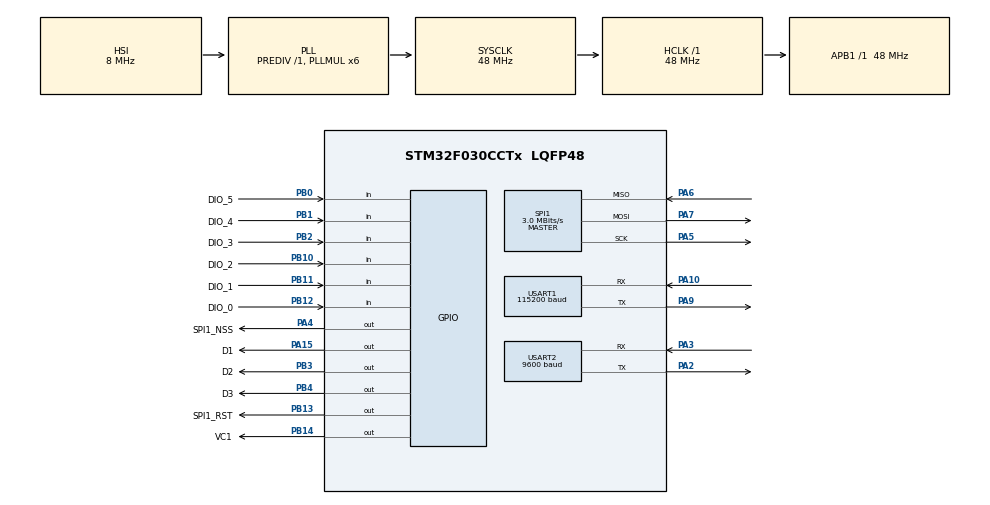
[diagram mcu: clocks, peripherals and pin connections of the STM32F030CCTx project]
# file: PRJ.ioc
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FREERTOS.HEAP_NUMBER=4
FREERTOS.INCLUDE_eTaskGetState=0
FREERTOS.INCLUDE_pcTaskGetTaskName=0
FREERTOS.INCLUDE_uxTaskGetStackHighWaterMark=0
FREERTOS.INCLUDE_uxTaskPriorityGet=1
FREERTOS.INCLUDE_vTaskCleanUpResources=0
FREERTOS.INCLUDE_vTaskDelay=1
FREERTOS.INCLUDE_vTaskDelayUntil=0
FREERTOS.INCLUDE_vTaskDelete=1
FREERTOS.INCLUDE_vTaskPrioritySet=1
FREERTOS.INCLUDE_vTaskSuspend=1
FREERTOS.INCLUDE_xEventGroupSetBitFromISR=0
FREERTOS.INCLUDE_xQueueGetMutexHolder=0
FREERTOS.INCLUDE_xSemaphoreGetMutexHolder=0
FREERTOS.INCLUDE_xTaskAbortDelay=0
FREERTOS.INCLUDE_xTaskGetCurrentTaskHandle=0
FREERTOS.INCLUDE_xTaskGetHandle=0
FREERTOS.INCLUDE_xTaskResumeFromISR=1
FREERTOS.MEMORY_ALLOCATION=2
FREERTOS.Queues01=Usart2Queue,256,uint8_t,0,Dynamic,NULL,NULL;LoRaQueue,10,tsBuf,0,Dynamic,NULL,NULL;Usart1Queue,16,uint8_t,0,Dynamic,NULL,NULL
FREERTOS.Tasks01=UIDTask,0,128,UID_Task,Default,NULL,Dynamic,NULL,NULL;Usart2Task,0,512,Usart2_Task,Default,NULL,Dynamic,NULL,NULL;LoRaProcess,0,128,LoRa_Process,Default,NULL,Dynamic,NULL,NULL;LoRaTask,0,128,LoRa_Task,Default,NULL,Dynamic,NULL,NULL;Usart1Task,0,128,Usart1_Task,Default,NULL,Dynamic,NULL,NULL
FREERTOS.configCHECK_FOR_STACK_OVERFLOW=0
FREERTOS.configENABLE_BACKWARD_COMPATIBILITY=1
FREERTOS.configGENERATE_RUN_TIME_STATS=0
FREERTOS.configIDLE_SHOULD_YIELD=1
FREERTOS.configLIBRARY_LOWEST_INTERRUPT_PRIORITY=3
FREERTOS.configLIBRARY_MAX_SYSCALL_INTERRUPT_PRIORITY=3
FREERTOS.configMAX_CO_ROUTINE_PRIORITIES=2
FREERTOS.configMAX_PRIORITIES=7
FREERTOS.configMAX_TASK_NAME_LEN=16
FREERTOS.configMINIMAL_STACK_SIZE=128
FREERTOS.configQUEUE_REGISTRY_SIZE=8
FREERTOS.configRECORD_STACK_HIGH_ADDRESS=0
FREERTOS.configTICK_RATE_HZ=1000
FREERTOS.configTOTAL_HEAP_SIZE=10240
FREERTOS.configUSE_APPLICATION_TASK_TAG=0
FREERTOS.configUSE_COUNTING_SEMAPHORES=0
FREERTOS.configUSE_CO_ROUTINES=0
FREERTOS.configUSE_DAEMON_TASK_STARTUP_HOOK=0
FREERTOS.configUSE_IDLE_HOOK=0
FREERTOS.configUSE_MALLOC_FAILED_HOOK=0
FREERTOS.configUSE_MUTEXES=1
FREERTOS.configUSE_NEWLIB_REENTRANT=0
FREERTOS.configUSE_PREEMPTION=1
FREERTOS.configUSE_RECURSIVE_MUTEXES=0
FREERTOS.configUSE_STATS_FORMATTING_FUNCTIONS=0
FREERTOS.configUSE_TASK_NOTIFICATIONS=1
FREERTOS.configUSE_TICKLESS_IDLE=0
FREERTOS.configUSE_TICK_HOOK=0
FREERTOS.configUSE_TIMERS=0
FREERTOS.configUSE_TRACE_FACILITY=0
FREERTOS.copyHeapFile=1
Mcu.Family=STM32F0
Mcu.Name=STM32F030CCTx
Mcu.Package=LQFP48
NVIC.TIM6_IRQn=true\:0\:0\:false\:false\:true\:false\:false\:true
NVIC.TimeBase=TIM6_IRQn
NVIC.TimeBaseIP=TIM6
NVIC.USART1_IRQn=true\:3\:0\:true\:false\:true\:true\:true\:true
NVIC.USART2_IRQn=true\:3\:0\:false\:false\:true\:true\:true\:true
PA10.Mode=Asynchronous
PA10.Signal=USART1_RX
PA13.Mode=Serial_Wire
PA13.Signal=SYS_SWDIO
PA14.Mode=Serial_Wire
PA14.Signal=SYS_SWCLK
PA15.GPIO_Label=D1
PA15.GPIO_PuPd=GPIO_PULLUP
PA15.PinState=GPIO_PIN_RESET
PA15.Signal=GPIO_Output
PA2.Mode=Asynchronous
PA2.Signal=USART2_TX
PA3.Mode=Asynchronous
PA3.Signal=USART2_RX
PA4.GPIO_Label=SPI1_NSS
PA4.GPIO_PuPd=GPIO_PULLUP
PA4.GPIO_Speed=GPIO_SPEED_FREQ_HIGH
PA4.Signal=GPIO_Output
PA5.Mode=Full_Duplex_Master
PA5.Signal=SPI1_SCK
PA6.Mode=Full_Duplex_Master
PA6.Signal=SPI1_MISO
PA7.Mode=Full_Duplex_Master
PA7.Signal=SPI1_MOSI
PA9.Mode=Asynchronous
PA9.Signal=USART1_TX
PB0.GPIO_Label=DIO_5
PB0.Signal=GPIO_Input
PB1.GPIO_Label=DIO_4
PB1.Signal=GPIO_Input
PB10.GPIO_Label=DIO_2
PB10.Signal=GPIO_Input
PB11.GPIO_Label=DIO_1
PB11.Signal=GPIO_Input
PB12.GPIO_Label=DIO_0
PB12.Signal=GPIO_Input
PB13.GPIO_Label=SPI1_RST
PB13.GPIO_PuPd=GPIO_PULLUP
PB13.PinState=GPIO_PIN_SET
PB13.Signal=GPIO_Output
PB14.GPIO_Label=VC1
PB14.Signal=GPIO_Output
PB2.GPIO_Label=DIO_3
PB2.Signal=GPIO_Input
PB3.GPIO_Label=D2
PB3.GPIO_PuPd=GPIO_PULLUP
PB3.PinState=GPIO_PIN_SET
PB3.Signal=GPIO_Output
PB4.GPIO_Label=D3
PB4.GPIO_PuPd=GPIO_PULLDOWN
PB4.Signal=GPIO_Output
PF0-OSC_IN.Mode=HSE-External-Oscillator
PF0-OSC_IN.Signal=RCC_OSC_IN
PF1-OSC_OUT.Mode=HSE-External-Oscillator
PF1-OSC_OUT.Signal=RCC_OSC_OUT
ProjectManager.HeapSize=0x200
ProjectManager.StackSize=0x400
ProjectManager.TargetToolchain=MDK-ARM V5.27
RCC.AHBFreq_Value=48000000
RCC.APB1Freq_Value=48000000
RCC.APB1TimFreq_Value=48000000
RCC.FLatency=FLASH_LATENCY_1
RCC.HCLKFreq_Value=48000000
RCC.PLLMUL=RCC_PLL_MUL6
RCC.SYSCLKFreq_VALUE=48000000
RCC.SYSCLKSource=RCC_SYSCLKSOURCE_PLLCLK
SPI1.BaudRatePrescaler=SPI_BAUDRATEPRESCALER_16
SPI1.CLKPhase=SPI_PHASE_1EDGE
SPI1.CLKPolarity=SPI_POLARITY_LOW
SPI1.CRCCalculation=SPI_CRCCALCULATION_DISABLE
SPI1.CalculateBaudRate=3.0 MBits/s
SPI1.DataSize=SPI_DATASIZE_8BIT
SPI1.Direction=SPI_DIRECTION_2LINES
SPI1.FirstBit=SPI_FIRSTBIT_MSB
SPI1.Mode=SPI_MODE_MASTER
SPI1.NSS=SPI_NSS_SOFT
SPI1.NSSPMode=SPI_NSS_PULSE_ENABLE
SPI1.TIMode=SPI_TIMODE_DISABLE
SPI1.VirtualType=VM_MASTER
USART1.AutoBaudRateEnableParam=UART_ADVFEATURE_AUTOBAUDRATE_DISABLE
USART1.BaudRate=115200
USART1.DMADisableonRxErrorParam=ADVFEATURE_DMA_ENABLEONRXERROR
USART1.DataInvertParam=ADVFEATURE_DATAINV_DISABLE
USART1.MSBFirstParam=ADVFEATURE_MSBFIRST_DISABLE
USART1.Mode=MODE_TX_RX
USART1.OneBitSampling=UART_ONE_BIT_SAMPLE_DISABLE
USART1.OverSampling=UART_OVERSAMPLING_16
USART1.OverrunDisableParam=ADVFEATURE_OVERRUN_ENABLE
USART1.Parity=PARITY_NONE
USART1.RxPinLevelInvertParam=ADVFEATURE_RXINV_DISABLE
USART1.StopBits=STOPBITS_1
USART1.SwapParam=ADVFEATURE_SWAP_DISABLE
USART1.TxPinLevelInvertParam=ADVFEATURE_TXINV_DISABLE
USART1.VirtualMode-Asynchronous=VM_ASYNC
USART1.WordLength=WORDLENGTH_8B
USART2.AutoBaudRateEnableParam=UART_ADVFEATURE_AUTOBAUDRATE_DISABLE
USART2.BaudRate=9600
USART2.DMADisableonRxErrorParam=ADVFEATURE_DMA_ENABLEONRXERROR
USART2.DataInvertParam=ADVFEATURE_DATAINV_DISABLE
USART2.MSBFirstParam=ADVFEATURE_MSBFIRST_DISABLE
USART2.Mode=MODE_TX_RX
USART2.OneBitSampling=UART_ONE_BIT_SAMPLE_DISABLE
USART2.OverSampling=UART_OVERSAMPLING_16
USART2.OverrunDisableParam=ADVFEATURE_OVERRUN_ENABLE
USART2.Parity=PARITY_NONE
USART2.RxPinLevelInvertParam=ADVFEATURE_RXINV_DISABLE
USART2.StopBits=STOPBITS_1
USART2.SwapParam=ADVFEATURE_SWAP_DISABLE
USART2.TxPinLevelInvertParam=ADVFEATURE_TXINV_DISABLE
USART2.VirtualMode-Asynchronous=VM_ASYNC
USART2.WordLength=WORDLENGTH_8B
VP_FREERTOS_VS_CMSIS_V1.Mode=CMSIS_V1
VP_SYS_VS_tim6.Mode=TIM6
board=custom

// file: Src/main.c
/* USER CODE BEGIN Header */
/**
  ******************************************************************************
  * @file           : main.c
  * @brief          : Main program body
  ******************************************************************************
  * @attention
  *
  * <h2><center>&copy; Copyright (c) 2020 STMicroelectronics.
  * All rights reserved.</center></h2>
  *
  * This software component is licensed by ST under Ultimate Liberty license
  * SLA0044, the "License"; You may not use this file except in compliance with
  * the License. You may obtain a copy of the License at:
  *                             www.st.com/SLA0044
  *
  ******************************************************************************
  */
/* USER CODE END Header */

#include "main.h"
#include "cmsis_os.h"
#include "spi.h"
#include "usart.h"
#include "gpio.h"

/* USER CODE BEGIN Includes */
#include "RfConfig.h"
#include "stmflash.h"
/* USER CODE END Includes */

void SystemClock_Config(void);
void MX_FREERTOS_Init(void);

int main(void)
{

  /* MCU Configuration--------------------------------------------------------*/

  /* Reset of all peripherals, Initializes the Flash interface and the Systick. */
  HAL_Init();

  /* Configure the system clock */
  SystemClock_Config();

  /* Initialize all configured peripherals */
  MX_GPIO_Init();
  MX_USART1_UART_Init();
  MX_USART2_UART_Init();
  MX_SPI1_Init();
  /* USER CODE BEGIN 2 */
	//USART_DMA_START(&huart2);
	user_info("LoRa Host Version @ V1.0");

  /* USER CODE END 2 */

  /* Call init function for freertos objects (in freertos.c) */
  MX_FREERTOS_Init();
  /* Start scheduler */
  osKernelStart();

  /* We should never get here as control is now taken by the scheduler */
  /* Infinite loop */
  while (1)
  {

  }
}

void SystemClock_Config(void)
{
  RCC_OscInitTypeDef RCC_OscInitStruct = {0};
  RCC_ClkInitTypeDef RCC_ClkInitStruct = {0};
  RCC_PeriphCLKInitTypeDef PeriphClkInit = {0};

  /** Initializes the CPU, AHB and APB busses clocks
  */
  RCC_OscInitStruct.OscillatorType = RCC_OSCILLATORTYPE_HSI;
  RCC_OscInitStruct.HSIState = RCC_HSI_ON;
  RCC_OscInitStruct.HSICalibrationValue = RCC_HSICALIBRATION_DEFAULT;
  RCC_OscInitStruct.PLL.PLLState = RCC_PLL_ON;
  RCC_OscInitStruct.PLL.PLLSource = RCC_PLLSOURCE_HSI;
  RCC_OscInitStruct.PLL.PLLMUL = RCC_PLL_MUL6;
  RCC_OscInitStruct.PLL.PREDIV = RCC_PREDIV_DIV1;
  if (HAL_RCC_OscConfig(&RCC_OscInitStruct) != HAL_OK)
  {
    Error_Handler();
  }
  /** Initializes the CPU, AHB and APB busses clocks
  */
  RCC_ClkInitStruct.ClockType = RCC_CLOCKTYPE_HCLK|RCC_CLOCKTYPE_SYSCLK
                              |RCC_CLOCKTYPE_PCLK1;
  RCC_ClkInitStruct.SYSCLKSource = RCC_SYSCLKSOURCE_PLLCLK;
  RCC_ClkInitStruct.AHBCLKDivider = RCC_SYSCLK_DIV1;
  RCC_ClkInitStruct.APB1CLKDivider = RCC_HCLK_DIV1;

  if (HAL_RCC_ClockConfig(&RCC_ClkInitStruct, FLASH_LATENCY_1) != HAL_OK)
  {
    Error_Handler();
  }
  PeriphClkInit.PeriphClockSelection = RCC_PERIPHCLK_USART1;
  PeriphClkInit.Usart1ClockSelection = RCC_USART1CLKSOURCE_PCLK1;
  if (HAL_RCCEx_PeriphCLKConfig(&PeriphClkInit) != HAL_OK)
  {
    Error_Handler();
  }
}

 /**
  * @brief  Period elapsed callback in non blocking mode
  * @note   This function is called  when TIM6 interrupt took place, inside
  * HAL_TIM_IRQHandler(). It makes a direct call to HAL_IncTick() to increment
  * a global variable "uwTick" used as application time base.
  * @param  htim : TIM handle
  * @retval None
  */
void HAL_TIM_PeriodElapsedCallback(TIM_HandleTypeDef *htim)
{
  if (htim->Instance == TIM6) {
    HAL_IncTick();
  }
}

void Error_Handler(void)
{
}

/************************ (C) COPYRIGHT STMicroelectronics *****END OF FILE****/

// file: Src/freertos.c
/* USER CODE BEGIN Header */
/**
  ******************************************************************************
  * File Name          : freertos.c
  * Description        : Code for freertos applications
  ******************************************************************************
  * @attention
  *
  * <h2><center>&copy; Copyright (c) 2020 STMicroelectronics.
  * All rights reserved.</center></h2>
  *
  * This software component is licensed by ST under Ultimate Liberty license
  * SLA0044, the "License"; You may not use this file except in compliance with
  * the License. You may obtain a copy of the License at:
  *                             www.st.com/SLA0044
  *
  ******************************************************************************
  */
/* USER CODE END Header */

#include "FreeRTOS.h"
#include "task.h"
#include "main.h"
#include "cmsis_os.h"

/* USER CODE BEGIN Includes */
#include "user_dataType.h"
#include "usart.h"
#include "RfConfig.h"
#include "combus.h"
#include "modbus_slave.h"
/* USER CODE END Includes */

osThreadId UIDTaskHandle;
osThreadId Usart2TaskHandle;
osThreadId LoRaProcessHandle;
osThreadId LoRaTaskHandle;
osThreadId Usart1TaskHandle;
osMessageQId Usart2QueueHandle;
osMessageQId LoRaQueueHandle;
osMessageQId Usart1QueueHandle;

void UID_Task(void const * argument);
void Usart2_Task(void const * argument);
void LoRa_Process(void const * argument);
void LoRa_Task(void const * argument);
void Usart1_Task(void const * argument);

void MX_FREERTOS_Init(void); /* (MISRA C 2004 rule 8.1) */

/* GetIdleTaskMemory prototype (linked to static allocation support) */
void vApplicationGetIdleTaskMemory( StaticTask_t **ppxIdleTaskTCBBuffer, StackType_t **ppxIdleTaskStackBuffer, uint32_t *pulIdleTaskStackSize );

/* USER CODE BEGIN GET_IDLE_TASK_MEMORY */
static StaticTask_t xIdleTaskTCBBuffer;
static StackType_t xIdleStack[configMINIMAL_STACK_SIZE];

void vApplicationGetIdleTaskMemory( StaticTask_t **ppxIdleTaskTCBBuffer, StackType_t **ppxIdleTaskStackBuffer, uint32_t *pulIdleTaskStackSize )
{
  *ppxIdleTaskTCBBuffer = &xIdleTaskTCBBuffer;
  *ppxIdleTaskStackBuffer = &xIdleStack[0];
  *pulIdleTaskStackSize = configMINIMAL_STACK_SIZE;
  /* place for user code */
}
/* USER CODE END GET_IDLE_TASK_MEMORY */

void MX_FREERTOS_Init(void) {

  /* Create the queue(s) */
  /* definition and creation of Usart2Queue */
  osMessageQDef(Usart2Queue, 256, uint8_t);
  Usart2QueueHandle = osMessageCreate(osMessageQ(Usart2Queue), NULL);

  /* definition and creation of LoRaQueue */
  osMessageQDef(LoRaQueue, 10, tsBuf);
  LoRaQueueHandle = osMessageCreate(osMessageQ(LoRaQueue), NULL);

  /* definition and creation of Usart1Queue */
  osMessageQDef(Usart1Queue, 16, uint8_t);
  Usart1QueueHandle = osMessageCreate(osMessageQ(Usart1Queue), NULL);

  /* Create the thread(s) */
  /* definition and creation of UIDTask */
  osThreadDef(UIDTask, UID_Task, osPriorityNormal, 0, 128);
  UIDTaskHandle = osThreadCreate(osThread(UIDTask), NULL);

  /* definition and creation of Usart2Task */
  osThreadDef(Usart2Task, Usart2_Task, osPriorityNormal, 0, 512);
  Usart2TaskHandle = osThreadCreate(osThread(Usart2Task), NULL);

  /* definition and creation of LoRaProcess */
  osThreadDef(LoRaProcess, LoRa_Process, osPriorityNormal, 0, 128);
  LoRaProcessHandle = osThreadCreate(osThread(LoRaProcess), NULL);

  /* definition and creation of LoRaTask */
  osThreadDef(LoRaTask, LoRa_Task, osPriorityNormal, 0, 128);
  LoRaTaskHandle = osThreadCreate(osThread(LoRaTask), NULL);

  /* definition and creation of Usart1Task */
  osThreadDef(Usart1Task, Usart1_Task, osPriorityNormal, 0, 128);
  Usart1TaskHandle = osThreadCreate(osThread(Usart1Task), NULL);

}

void UID_Task(void const * argument)
{
  /* USER CODE BEGIN UID_Task */
  /* Infinite loop */
  for(;;)
  {
//	HAL_GPIO_TogglePin(D1_GPIO_Port,D1_Pin);
    osDelay(100);
  }
  /* USER CODE END UID_Task */
}

void Usart2_Task(void const * argument)
{
  /* USER CODE BEGIN Usart2_Task */
	uint8_t aRxBuffer[USART2_RX_BUFFERSIZE]={0};
	uint8_t u8Index=0;
	tsBuf data;
	uint16_t crc_check=0;
	uint8_t Ex_code=0;
	__IO uint16_t Rx_MSG=MSG_IDLE;
  /* Infinite loop */
  for(;;)
  {
	u8Index=0;
	if(xQueueReceive(Usart2QueueHandle,&aRxBuffer[u8Index++],portMAX_DELAY)== pdTRUE)
	{
		while(xQueueReceive(Usart2QueueHandle,&aRxBuffer[u8Index++],5)){}
		//接收到一帧数据
		HAL_GPIO_WritePin(D2_GPIO_Port,D2_Pin,GPIO_PIN_RESET);//开485灯
		aRxBuffer[u8Index]='\0';
		u8Index=u8Index-1;
		//user_info("count = %d | data = %s",u8Index,aRxBuffer);
#if MODBUS_MODE
		/*复制数据*/
		memcpy((uint8_t *)Rx_Buf,aRxBuffer,u8Index);
		RxCount=u8Index;
		for(int i=0;i<RxCount;i++)
		{
			printf("%02X ",Rx_Buf[i]);
		}
		printf("\r\n");
		/*为寄存器分配内存*/
		PduData.PtrHoldingbase=Reg_Val;
		/*初始化modbus*/
		Rx_MSG=MSG_COM;
		if(Rx_MSG == MSG_COM)
		{
			//收到非本机地址的响应请求
			if((Rx_Buf[0]!=MB_SLAVEADDR)&&(Rx_Buf[0]!=MB_ALLSLAVEADDR))
			{
				Rx_MSG = MSG_IDLE;
				HAL_GPIO_WritePin(D2_GPIO_Port,D2_Pin,GPIO_PIN_SET);//关485灯
				memset((uint8_t *)Rx_Buf,0,RxCount);//清除缓冲区
				printf("NetAddr is Not!");
				continue;
			}
			//解析数据帧
			MB_Parse_Data();
			//CRC校验
			crc_check=((Rx_Buf[RxCount-1]<<8) | Rx_Buf[RxCount-2]);
			if(crc_check==PduData._CRC)
			{
				//分析数据并执行
				Ex_code = MB_Analyze_Execute();
				/* 出现异常 */
				if(Ex_code !=EX_CODE_NONE)//异常回复主机
				{
				  MB_Exception_RSP(PduData.Code,Ex_code);
				}
				else//正常回复主机
				{
					MB_RSP(PduData.Code);
				}
			}
			else
			{
				printf("crc错误%x != %x\r\n",PduData._CRC,crc_check);
			}
			/* 重新标记为空闲状态 */

			Rx_MSG = MSG_IDLE;
		}
		//清空接收内存
		memcpy((uint8_t *)data.Buffer,Rx_Buf,u8Index);
		data.count=u8Index;
		memset(Rx_Buf,0,u8Index);
#endif
		memcpy((uint8_t *)data.Buffer,aRxBuffer,u8Index);
		data.count=u8Index;
		//数据入队等待无线发送
		xQueueSendToFront(LoRaQueueHandle,&data,NULL);
		HAL_GPIO_WritePin(D2_GPIO_Port,D2_Pin,GPIO_PIN_SET);//关485灯

	}
    //osDelay(10);
  }
  /* USER CODE END Usart2_Task */
}

void LoRa_Process(void const * argument)
{
  /* USER CODE BEGIN LoRa_Process */
	STMFLASH_Read(FLASH_SAVE_ADDR,LoRaSysVal,LoRaVal_Size);//读出系统配置参数
	user_info("RF_CH=%d|RF_POWER=%d|RF_BW=%d|RF_SF=%d|RF_TXOUT=%d|RF_RXOUT=%d|RF_NETADDR=%d",LoRaSysVal[0],LoRaSysVal[1],LoRaSysVal[2],LoRaSysVal[3],LoRaSysVal[4],LoRaSysVal[5],LoRaSysVal[7]);
	RF_Init();
	uint8_t RF_State=0;
	tsBuf LoRaBuf;

	uint16_t crc_check=0;
	uint8_t Ex_code=0;
	__IO uint16_t Rx_MSG=MSG_IDLE;
  /* Infinite loop */
  for(;;)
  {
	  RF_State=Radio->Process();
	  switch(RF_State)
	  {
		  case RF_TX_TIMEOUT:/*发送超时*/
			  user_info("RF_TX_TIMEOUT!");
			  break;
		  case RF_TX_DONE:/*发送完成*/
			  user_info("RF_TX_DONE!");
			  HAL_GPIO_WritePin(D3_GPIO_Port,D3_Pin,GPIO_PIN_RESET);//关发送指示灯
			  HAL_GPIO_WritePin(VC1_GPIO_Port,VC1_Pin,GPIO_PIN_SET);//关闭发送射频开关并打开接收射频开关
			  Radio->StartRx();
			  break;
		  case RF_RX_DONE:/*接收完成*/
//			  user_info("收到数据！");
			  LoRaSysVal[9]=0;//重发次数清0
			  Radio->GetRxPacket((uint8_t *)LoRaBuf.Buffer,&LoRaBuf.count);						// 从LoRa中读取接收数据及数据长度
			  LoRaBuf.Buffer[LoRaBuf.count] = '\0';
		      printf("Receive data | ");									// 打印接收到的字符串
			  for(int i=0;i<LoRaBuf.count;i++)
			  {
				  printf("%02X ",LoRaBuf.Buffer[i]);
			  }

			  //printf("Snr = %d, Rssi = %f.\r\n", SX1276LoRaGetPacketSnr(), SX1276LoRaGetPacketRssi());	// Snr是信噪比，Rssi是信号强度
			  printf(" | Snr = %d, Rssi = %d\r\n", SX1276LoRaGetPacketSnr(), (uint8_t)SX1276LoRaGetPacketRssi());	// Snr是信噪比，Rssi是信号强度
			  printf("\r\n");
			  USART2_TX((uint8_t *)LoRaBuf.Buffer,LoRaBuf.count);

			  HAL_GPIO_WritePin(VC1_GPIO_Port,VC1_Pin,GPIO_PIN_SET);//关闭发送射频开关并打开接收射频开关
			  SX1276SetRFState(RFLR_STATE_CAD_INIT);
			  vTaskResume(LoRaTaskHandle);//数据处理完成，恢复任务
			  break;
		  case RF_RX_TIMEOUT:/*接收超时*/
			  user_info("RF_RX_TIMEOUT!");
			  memset((uint8_t *)LoRa_Txdata.Buffer,0,LoRa_Txdata.count);//清空LoRa发送缓存
			  HAL_GPIO_WritePin(VC1_GPIO_Port,VC1_Pin,GPIO_PIN_SET);//关闭发送射频开关并打开接收射频开关
			  SX1276SetRFState(RFLR_STATE_CAD_INIT);
			  vTaskResume(LoRaTaskHandle);//恢复任务
//			  if(LoRaSysVal[9]>0)//重发数据
//			  {
//				  user_info("Resend data!");
//				  LoRa_SendData((uint8_t *)LoRa_Txdata.Buffer,LoRa_Txdata.count);		//无线发送数据
//				  LoRaSysVal[9]--;//重发次数减1
//			  }
//			  else//重发次数已用完
//			  {
//				  memset((uint8_t *)LoRa_Txdata.Buffer,0,LoRa_Txdata.count);//清空LoRa发送缓存
//				  HAL_GPIO_WritePin(VC1_GPIO_Port,VC1_Pin,GPIO_PIN_SET);//关闭发送射频开关并打开接收射频开关
//				  SX1276SetRFState(RFLR_STATE_CAD_INIT);
//				  vTaskResume(LoRaTaskHandle);//恢复任务
//			  }

			  break;
		  case RF_CHANNEL_EMPTY:
//			  user_info("RF_CHANNEL_EMPTY!");
			  HAL_GPIO_WritePin(VC1_GPIO_Port,VC1_Pin,GPIO_PIN_SET);
			  SX1276SetRFState(RFLR_STATE_CAD_INIT);
			  break;
		  case RF_CHANNEL_ACTIVITY_DETECTED:
			  user_info("无线网络唤醒!");
			  break;
	  }
	  //osDelay(10);
  }
  /* USER CODE END LoRa_Process */
}

void LoRa_Task(void const * argument)
{
  /* USER CODE BEGIN LoRa_Task */

	uint8_t count=0;
  /* Infinite loop */
  for(;;)
  {
	if(xQueueReceive(LoRaQueueHandle,&LoRa_Txdata,portMAX_DELAY)==pdTRUE)
	{
		count=osMessageWaiting(LoRaQueueHandle);				//获取队列缓存个数
		user_info("Queue_count=%d",count);						//打印剩余队列数量
		user_info("count=%d|data=%s",LoRa_Txdata.count,LoRa_Txdata.Buffer);	//打印队列信息

		LoRa_SendData((uint8_t *)LoRa_Txdata.Buffer,LoRa_Txdata.count);		//无线发送数据
		LoRaSysVal[9]=2;										//设定重发次数
		vTaskSuspend(LoRaTaskHandle);							//挂起本任务等待接收
	}
    //osDelay(10);
  }
  /* USER CODE END LoRa_Task */
}

void Usart1_Task(void const * argument)
{
  /* USER CODE BEGIN Usart1_Task */
	uint8_t u8Index=0;
	uint8_t u8Usart1Buffer[20]={0};
  /* Infinite loop */
  for(;;)
    {
	u8Index=0;
	if(xQueueReceive(Usart1QueueHandle,&u8Usart1Buffer[u8Index++],portMAX_DELAY)== pdTRUE)
	{
		while(xQueueReceive(Usart1QueueHandle,&u8Usart1Buffer[u8Index++],5)){}
		//接收到一帧数据
		u8Usart1Buffer[u8Index]='\0';
		u8Index=u8Index-1;
		user_info("Receive setup system command | %s",u8Usart1Buffer);
		//协议处理
		vParseString((char*)u8Usart1Buffer);
		//清空内存
		memset(u8Usart1Buffer,0,u8Index);

	}
    osDelay(10);
  }
  /* USER CODE END Usart1_Task */
}

/************************ (C) COPYRIGHT STMicroelectronics *****END OF FILE****/
